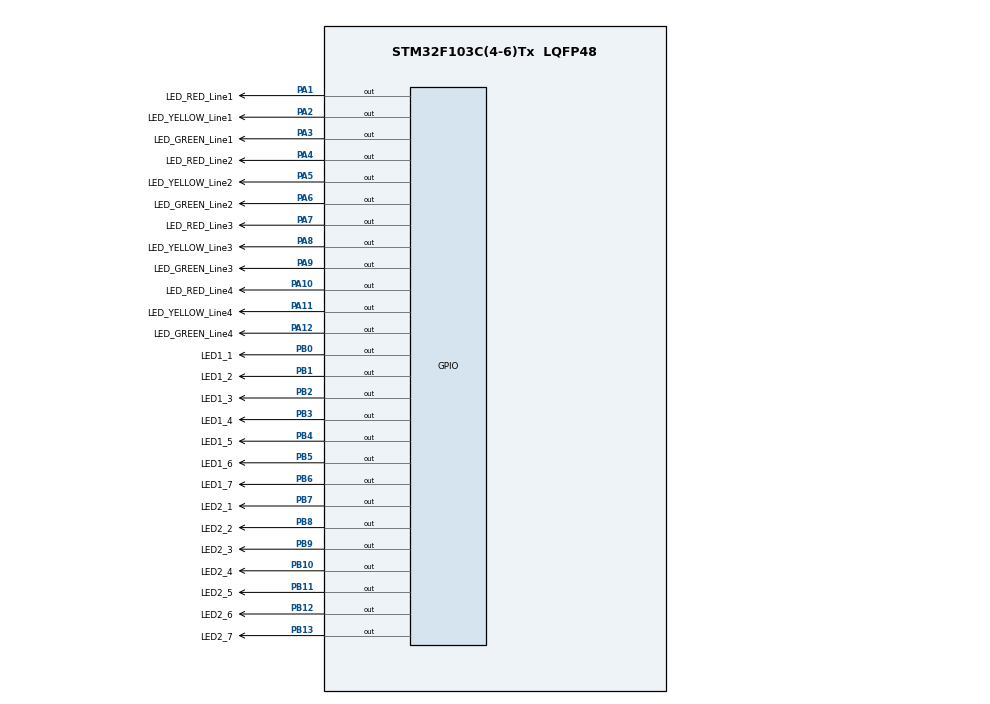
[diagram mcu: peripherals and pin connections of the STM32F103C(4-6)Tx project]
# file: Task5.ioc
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Mcu.Family=STM32F1
Mcu.Name=STM32F103C(4-6)Tx
Mcu.Package=LQFP48
NVIC.PriorityGroup=NVIC_PRIORITYGROUP_4
PA1.GPIO_Label=LED_RED_Line1
PA1.Signal=GPIO_Output
PA10.GPIO_Label=LED_RED_Line4
PA10.Signal=GPIO_Output
PA11.GPIO_Label=LED_YELLOW_Line4
PA11.Signal=GPIO_Output
PA12.GPIO_Label=LED_GREEN_Line4
PA12.Signal=GPIO_Output
PA2.GPIO_Label=LED_YELLOW_Line1
PA2.Signal=GPIO_Output
PA3.GPIO_Label=LED_GREEN_Line1
PA3.Signal=GPIO_Output
PA4.GPIO_Label=LED_RED_Line2
PA4.Signal=GPIO_Output
PA5.GPIO_Label=LED_YELLOW_Line2
PA5.Signal=GPIO_Output
PA6.GPIO_Label=LED_GREEN_Line2
PA6.Signal=GPIO_Output
PA7.GPIO_Label=LED_RED_Line3
PA7.Signal=GPIO_Output
PA8.GPIO_Label=LED_YELLOW_Line3
PA8.Signal=GPIO_Output
PA9.GPIO_Label=LED_GREEN_Line3
PA9.Signal=GPIO_Output
PB0.GPIO_Label=LED1_1
PB0.Signal=GPIO_Output
PB1.GPIO_Label=LED1_2
PB1.Signal=GPIO_Output
PB10.GPIO_Label=LED2_4
PB10.Signal=GPIO_Output
PB11.GPIO_Label=LED2_5
PB11.Signal=GPIO_Output
PB12.GPIO_Label=LED2_6
PB12.Signal=GPIO_Output
PB13.GPIO_Label=LED2_7
PB13.Signal=GPIO_Output
PB2.GPIO_Label=LED1_3
PB2.Signal=GPIO_Output
PB3.GPIO_Label=LED1_4
PB3.Signal=GPIO_Output
PB4.GPIO_Label=LED1_5
PB4.Signal=GPIO_Output
PB5.GPIO_Label=LED1_6
PB5.Signal=GPIO_Output
PB6.GPIO_Label=LED1_7
PB6.Signal=GPIO_Output
PB7.GPIO_Label=LED2_1
PB7.Signal=GPIO_Output
PB8.GPIO_Label=LED2_2
PB8.Signal=GPIO_Output
PB9.GPIO_Label=LED2_3
PB9.Signal=GPIO_Output
ProjectManager.HeapSize=0x200
ProjectManager.StackSize=0x400
ProjectManager.TargetToolchain=STM32CubeIDE
RCC.APB1Freq_Value=8000000
RCC.APB2Freq_Value=8000000
VP_SYS_VS_ND.Mode=No_Debug
board=custom

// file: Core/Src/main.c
/* USER CODE BEGIN Header */
/**
  ******************************************************************************
  * @file           : main.c
  * @brief          : Main program body
  ******************************************************************************
  * @attention
  *
  * <h2><center>&copy; Copyright (c) 2022 STMicroelectronics.
  * All rights reserved.</center></h2>
  *
  * This software component is licensed by ST under BSD 3-Clause license,
  * the "License"; You may not use this file except in compliance with the
  * License. You may obtain a copy of the License at:
  *                        opensource.org/licenses/BSD-3-Clause
  *
  ******************************************************************************
  */
/* USER CODE END Header */
#include "main.h"

void SystemClock_Config(void);
static void MX_GPIO_Init(void);

int main(void)
{

  /* MCU Configuration--------------------------------------------------------*/

  /* Reset of all peripherals, Initializes the Flash interface and the Systick. */
  HAL_Init();

  /* Configure the system clock */
  SystemClock_Config();

  /* Initialize all configured peripherals */
  MX_GPIO_Init();

  /* Infinite loop */
  /* USER CODE BEGIN WHILE */
  void  display7SEG_1(int num)     // LED 7 doan kiem soat den giao thong o line 1 va 3
    {

  	 if(num==0)
  	 {
  	 	 // Number 0
  	      HAL_GPIO_WritePin(LED1_1_GPIO_Port, LED1_1_Pin, RESET);          //a
  	  	  HAL_GPIO_WritePin(LED1_2_GPIO_Port, LED1_2_Pin, RESET);      //b
  	  	  HAL_GPIO_WritePin(LED1_3_GPIO_Port, LED1_3_Pin, RESET);     //c
  	  	  HAL_GPIO_WritePin(LED1_4_GPIO_Port, LED1_4_Pin, RESET);     //d
  	  	  HAL_GPIO_WritePin(LED1_5_GPIO_Port, LED1_5_Pin, RESET);     //e
  	  	  HAL_GPIO_WritePin(LED1_6_GPIO_Port, LED1_6_Pin, RESET);     //f
  	  	  HAL_GPIO_WritePin(LED1_7_GPIO_Port, LED1_7_Pin, SET);    //g
  	 }
  	 if(num==1)
  	 {
  		 // Number 1

  		  HAL_GPIO_WritePin(LED1_1_GPIO_Port, LED1_1_Pin, SET);          //a
  		  HAL_GPIO_WritePin(LED1_2_GPIO_Port, LED1_2_Pin, RESET);      //b
  		  HAL_GPIO_WritePin(LED1_3_GPIO_Port, LED1_3_Pin, RESET);     //c
  		  HAL_GPIO_WritePin(LED1_4_GPIO_Port, LED1_4_Pin, SET);     //d
  	      HAL_GPIO_WritePin(LED1_5_GPIO_Port, LED1_5_Pin, SET);     //e
  		  HAL_GPIO_WritePin(LED1_6_GPIO_Port, LED1_6_Pin, SET);     //f
  		  HAL_GPIO_WritePin(LED1_7_GPIO_Port, LED1_7_Pin, SET);    //g
  	 }
  	 if(num==2)
  	 {
  		 // Number 2

  		 HAL_GPIO_WritePin(LED1_1_GPIO_Port, LED1_1_Pin, 0);          //a
  		 HAL_GPIO_WritePin(LED1_2_GPIO_Port, LED1_2_Pin, 0);      //b
  		 HAL_GPIO_WritePin(LED1_3_GPIO_Port, LED1_3_Pin, 1);     //c
  		 HAL_GPIO_WritePin(LED1_4_GPIO_Port, LED1_4_Pin, 0);     //d
  		 HAL_GPIO_WritePin(LED1_5_GPIO_Port, LED1_5_Pin, 0);     //e
  		 HAL_GPIO_WritePin(LED1_6_GPIO_Port, LED1_6_Pin, 1);     //f
  		 HAL_GPIO_WritePin(LED1_7_GPIO_Port, LED1_7_Pin, 0);    //g
  	 }
  	 if(num==3)
  	 {
  		 // Number 3
  	    HAL_GPIO_WritePin(LED1_1_GPIO_Port, LED1_1_Pin, 0);          //a
  		HAL_GPIO_WritePin(LED1_2_GPIO_Port, LED1_2_Pin, 0);      //b
  		HAL_GPIO_WritePin(LED1_3_GPIO_Port, LED1_3_Pin, 0);     //c
  		HAL_GPIO_WritePin(LED1_4_GPIO_Port, LED1_4_Pin, 0);     //d
  		HAL_GPIO_WritePin(LED1_5_GPIO_Port, LED1_5_Pin, 1);     //e
  		HAL_GPIO_WritePin(LED1_6_GPIO_Port, LED1_6_Pin, 1);     //f
  		HAL_GPIO_WritePin(LED1_7_GPIO_Port, LED1_7_Pin, 0);    //g
  	 }
  	 if(num==4)
  	 {
  		 // Number 4
  		  HAL_GPIO_WritePin(LED1_1_GPIO_Port, LED1_1_Pin, 1);          //a
  		  HAL_GPIO_WritePin(LED1_2_GPIO_Port, LED1_2_Pin, 0);      //b
  		  HAL_GPIO_WritePin(LED1_3_GPIO_Port, LED1_3_Pin, 0);     //c
  		  HAL_GPIO_WritePin(LED1_4_GPIO_Port, LED1_4_Pin, 1);     //d
  		  HAL_GPIO_WritePin(LED1_5_GPIO_Port, LED1_5_Pin, 1);     //e
  	      HAL_GPIO_WritePin(LED1_6_GPIO_Port, LED1_6_Pin, 0);     //f
  		  HAL_GPIO_WritePin(LED1_7_GPIO_Port, LED1_7_Pin, 0);    //g
  	 }
  	 if(num==5)
  	 {
  		 //Number= 5
  	  HAL_GPIO_WritePin(LED1_1_GPIO_Port, LED1_1_Pin, 0);          //a
  	  HAL_GPIO_WritePin(LED1_2_GPIO_Port, LED1_2_Pin, 1);      //b
  	  HAL_GPIO_WritePin(LED1_3_GPIO_Port, LED1_3_Pin, 0);     //c
  	  HAL_GPIO_WritePin(LED1_4_GPIO_Port, LED1_4_Pin, 0);     //d
      HAL_GPIO_WritePin(LED1_5_GPIO_Port, LED1_5_Pin, 1);     //e
  	  HAL_GPIO_WritePin(LED1_6_GPIO_Port, LED1_6_Pin, 0);     //f
  	  HAL_GPIO_WritePin(LED1_7_GPIO_Port, LED1_7_Pin, 0);    //g
  	 }
  	 if(num==6)
  	 {
  		 // Number 6
  		  HAL_GPIO_WritePin(LED1_1_GPIO_Port, LED1_1_Pin, 0);          //a
  		  HAL_GPIO_WritePin(LED1_2_GPIO_Port, LED1_2_Pin, 1);      //b
  		  HAL_GPIO_WritePin(LED1_3_GPIO_Port, LED1_3_Pin, 0);     //c
  		  HAL_GPIO_WritePin(LED1_4_GPIO_Port, LED1_4_Pin, 0);     //d
  		  HAL_GPIO_WritePin(LED1_5_GPIO_Port, LED1_5_Pin, 0);     //e
  		  HAL_GPIO_WritePin(LED1_6_GPIO_Port, LED1_6_Pin, 0);     //f
  		  HAL_GPIO_WritePin(LED1_7_GPIO_Port, LED1_7_Pin, 0);    //g
  	 }
  	 if(num==7)
  	 {
  		 // Number 7
  		  HAL_GPIO_WritePin(LED1_1_GPIO_Port, LED1_1_Pin, 0);          //a
  		  HAL_GPIO_WritePin(LED1_2_GPIO_Port, LED1_2_Pin, 0);      //b
  		  HAL_GPIO_WritePin(LED1_3_GPIO_Port, LED1_3_Pin, 0);     //c
  		  HAL_GPIO_WritePin(LED1_4_GPIO_Port, LED1_4_Pin, 1);     //d
  	      HAL_GPIO_WritePin(LED1_5_GPIO_Port, LED1_5_Pin, 1);     //e
  		  HAL_GPIO_WritePin(LED1_6_GPIO_Port, LED1_6_Pin, 1);     //f
  		  HAL_GPIO_WritePin(LED1_7_GPIO_Port, LED1_7_Pin, 1);    //g
  	 }
  	 if(num==8)
  	 {
  		  // Number 8
  	  HAL_GPIO_WritePin(LED1_1_GPIO_Port, LED1_1_Pin, 0);          //a
  	  HAL_GPIO_WritePin(LED1_2_GPIO_Port, LED1_2_Pin, 0);      //b
  	  HAL_GPIO_WritePin(LED1_3_GPIO_Port, LED1_3_Pin, 0);     //c
  	  HAL_GPIO_WritePin(LED1_4_GPIO_Port, LED1_4_Pin, 0);     //d
  	  HAL_GPIO_WritePin(LED1_5_GPIO_Port, LED1_5_Pin, 0);     //e
  	  HAL_GPIO_WritePin(LED1_6_GPIO_Port, LED1_6_Pin, 0);     //f
  	  HAL_GPIO_WritePin(LED1_7_GPIO_Port, LED1_7_Pin, 0);    //g
  	 }
  	 if(num==9)
  	 {
  		 // Number 9
   	  HAL_GPIO_WritePin(LED1_1_GPIO_Port, LED1_1_Pin, 0);          //a
   	  HAL_GPIO_WritePin(LED1_2_GPIO_Port, LED1_2_Pin, 0);      //b
   	  HAL_GPIO_WritePin(LED1_3_GPIO_Port, LED1_3_Pin, 0);     //c
   	  HAL_GPIO_WritePin(LED1_4_GPIO_Port, LED1_4_Pin, 0);     //d
      HAL_GPIO_WritePin(LED1_5_GPIO_Port, LED1_5_Pin, 1);     //e
   	  HAL_GPIO_WritePin(LED1_6_GPIO_Port, LED1_6_Pin, 0);     //f
   	  HAL_GPIO_WritePin(LED1_7_GPIO_Port, LED1_7_Pin, 0);    //g
  	 }
   HAL_Delay(500);
    }
  void  display7SEG_2(int num)   // LED 7 doan kiem soat den giao thong o line 2 va line 4
      {
    	 // Number 0
    	 if(num==0)
    	 {
    	      HAL_GPIO_WritePin(LED2_1_GPIO_Port, LED2_1_Pin, RESET);          //a
    	  	  HAL_GPIO_WritePin(LED2_2_GPIO_Port, LED2_2_Pin, RESET);      //b
    	  	  HAL_GPIO_WritePin(LED2_3_GPIO_Port, LED2_3_Pin, RESET);     //c
    	  	  HAL_GPIO_WritePin(LED2_4_GPIO_Port, LED2_4_Pin, RESET);     //d
    	  	  HAL_GPIO_WritePin(LED2_5_GPIO_Port, LED2_5_Pin, RESET);     //e
    	  	  HAL_GPIO_WritePin(LED2_6_GPIO_Port, LED2_6_Pin, RESET);     //f
    	  	  HAL_GPIO_WritePin(LED2_7_GPIO_Port, LED2_7_Pin, SET);    //g
    	 }
    	 if(num==1)
    	 {
    		 // Number 1

    		  HAL_GPIO_WritePin(LED2_1_GPIO_Port, LED2_1_Pin, SET);          //a
    		  HAL_GPIO_WritePin(LED2_2_GPIO_Port, LED2_2_Pin, RESET);      //b
    		  HAL_GPIO_WritePin(LED2_3_GPIO_Port, LED2_3_Pin, RESET);     //c
    		  HAL_GPIO_WritePin(LED2_4_GPIO_Port, LED2_4_Pin, SET);     //d
    		  HAL_GPIO_WritePin(LED2_5_GPIO_Port, LED2_5_Pin, SET);     //e
    		  HAL_GPIO_WritePin(LED2_6_GPIO_Port, LED2_6_Pin, SET);     //f
    		 HAL_GPIO_WritePin(LED2_7_GPIO_Port, LED2_7_Pin, SET);    //g
    	 }
    	 if(num==2)
    	 {
    		 // Number 2
    		 HAL_GPIO_WritePin(LED2_1_GPIO_Port, LED2_1_Pin, 0);          //a
    		 HAL_GPIO_WritePin(LED2_2_GPIO_Port, LED2_2_Pin, 0);      //b
    		 HAL_GPIO_WritePin(LED2_3_GPIO_Port, LED2_3_Pin, 1);     //c
    		 HAL_GPIO_WritePin(LED2_4_GPIO_Port, LED2_4_Pin, 0);     //d
    		 HAL_GPIO_WritePin(LED2_5_GPIO_Port, LED2_5_Pin, 0);     //e
    		 HAL_GPIO_WritePin(LED2_6_GPIO_Port, LED2_6_Pin, 1);     //f
    		 HAL_GPIO_WritePin(LED2_7_GPIO_Port, LED2_7_Pin, 0);    //g
    	 }
    	 if(num==3)
    	 {
    		 // Number 3
    		 HAL_GPIO_WritePin(LED2_1_GPIO_Port, LED2_1_Pin, 0);          //a
    	     HAL_GPIO_WritePin(LED2_2_GPIO_Port, LED2_2_Pin, 0);      //b
    		 HAL_GPIO_WritePin(LED2_3_GPIO_Port, LED2_3_Pin, 0);     //c
    		 HAL_GPIO_WritePin(LED2_4_GPIO_Port, LED2_4_Pin, 0);     //d
    		 HAL_GPIO_WritePin(LED2_5_GPIO_Port, LED2_5_Pin, 1);     //e
    		 HAL_GPIO_WritePin(LED2_6_GPIO_Port, LED2_6_Pin, 1);     //f
    		 HAL_GPIO_WritePin(LED2_7_GPIO_Port, LED2_7_Pin, 0);    //g
    	 }
    	 if(num==4)
    	 {
    		 // Number 4
    		  HAL_GPIO_WritePin(LED2_1_GPIO_Port, LED2_1_Pin, 1);          //a
    		  HAL_GPIO_WritePin(LED2_2_GPIO_Port, LED2_2_Pin, 0);      //b
    		  HAL_GPIO_WritePin(LED2_3_GPIO_Port, LED2_3_Pin, 0);     //c
    		  HAL_GPIO_WritePin(LED2_4_GPIO_Port, LED2_4_Pin, 1);     //d
    		  HAL_GPIO_WritePin(LED2_5_GPIO_Port, LED2_5_Pin, 1);     //e
    		  HAL_GPIO_WritePin(LED2_6_GPIO_Port, LED2_6_Pin, 0);     //f
    		  HAL_GPIO_WritePin(LED2_7_GPIO_Port, LED2_7_Pin, 0);    //g
    	 }
    	 if(num==5)
    	 {
    	  HAL_GPIO_WritePin(LED2_1_GPIO_Port, LED1_1_Pin, 0);          //a
    	  HAL_GPIO_WritePin(LED2_2_GPIO_Port, LED2_2_Pin, 1);      //b
    	  HAL_GPIO_WritePin(LED2_3_GPIO_Port, LED2_3_Pin, 0);     //c
    	  HAL_GPIO_WritePin(LED2_4_GPIO_Port, LED2_4_Pin, 0);     //d
          HAL_GPIO_WritePin(LED2_5_GPIO_Port, LED2_5_Pin, 1);     //e
    	  HAL_GPIO_WritePin(LED2_6_GPIO_Port, LED2_6_Pin, 0);     //f
    	  HAL_GPIO_WritePin(LED2_7_GPIO_Port, LED2_7_Pin, 0);    //g
    	 }
    	 if(num==6)
    	 {
    		 // Number 6
    		  HAL_GPIO_WritePin(LED2_1_GPIO_Port, LED1_1_Pin, 0);          //a
    		  HAL_GPIO_WritePin(LED2_2_GPIO_Port, LED2_2_Pin, 1);      //b
    		  HAL_GPIO_WritePin(LED2_3_GPIO_Port, LED2_3_Pin, 0);     //c
    		  HAL_GPIO_WritePin(LED2_4_GPIO_Port, LED2_4_Pin, 0);     //d
    		  HAL_GPIO_WritePin(LED2_5_GPIO_Port, LED2_5_Pin, 0);     //e
    		  HAL_GPIO_WritePin(LED2_6_GPIO_Port, LED2_6_Pin, 0);     //f
    		  HAL_GPIO_WritePin(LED2_7_GPIO_Port, LED2_7_Pin, 0);    //g
    	 }
    	 if(num==7)
    	 {
    		 // Number 7
    		  HAL_GPIO_WritePin(LED2_1_GPIO_Port, LED1_1_Pin, 0);          //a
    		  HAL_GPIO_WritePin(LED2_2_GPIO_Port, LED1_2_Pin, 0);      //b
    		  HAL_GPIO_WritePin(LED2_3_GPIO_Port, LED2_3_Pin, 0);     //c
    		  HAL_GPIO_WritePin(LED2_4_GPIO_Port, LED2_4_Pin, 1);     //d
    		  HAL_GPIO_WritePin(LED2_5_GPIO_Port, LED2_5_Pin, 1);     //e
    		  HAL_GPIO_WritePin(LED2_6_GPIO_Port, LED2_6_Pin, 1);     //f
    		  HAL_GPIO_WritePin(LED2_7_GPIO_Port, LED2_7_Pin, 1);    //g
    	 }
    	 if(num==8)
    	 {
    		  // Number 8
    	  HAL_GPIO_WritePin(LED2_1_GPIO_Port, LED1_1_Pin, 0);          //a
    	  HAL_GPIO_WritePin(LED2_2_GPIO_Port, LED2_2_Pin, 0);      //b
    	  HAL_GPIO_WritePin(LED2_3_GPIO_Port, LED2_3_Pin, 0);     //c
    	  HAL_GPIO_WritePin(LED2_4_GPIO_Port, LED2_4_Pin, 0);     //d
    	  HAL_GPIO_WritePin(LED2_5_GPIO_Port, LED2_5_Pin, 0);     //e
    	  HAL_GPIO_WritePin(LED2_6_GPIO_Port, LED2_6_Pin, 0);     //f
    	  HAL_GPIO_WritePin(LED2_7_GPIO_Port, LED2_7_Pin, 0);    //g
    	 }
    	 if(num==9)
    	 {
    		 // Number 9
     	  HAL_GPIO_WritePin(LED2_1_GPIO_Port, LED2_1_Pin, 0);          //a
     	  HAL_GPIO_WritePin(LED2_2_GPIO_Port, LED2_2_Pin, 0);      //b
     	  HAL_GPIO_WritePin(LED2_3_GPIO_Port, LED2_3_Pin, 0);     //c
     	  HAL_GPIO_WritePin(LED2_4_GPIO_Port, LED2_4_Pin, 0);     //d
     	  HAL_GPIO_WritePin(LED2_5_GPIO_Port, LED2_5_Pin, 1);     //e
     	  HAL_GPIO_WritePin(LED2_6_GPIO_Port, LED2_6_Pin, 0);     //f
     	  HAL_GPIO_WritePin(LED2_7_GPIO_Port, LED2_7_Pin, 0);    //g
    	 }
      }
 // int led_status = 1;
 // int counter  = 3;  // counter dung de xac dinh delay
  while (1)
  {
    /* USER CODE END WHILE */
	  // set = LED ON
	  // RED ON : 9s -> 0s;
	  // GREEN ON: 5s -> 0s;
	  // YELLOW ON: 3s-> 0s;
	  int i = 8;

	          HAL_GPIO_WritePin ( LED_RED_Line1_GPIO_Port , LED_RED_Line1_Pin , RESET );
	 	 	  HAL_GPIO_WritePin ( LED_RED_Line3_GPIO_Port , LED_RED_Line3_Pin , RESET );
	 	 	  HAL_GPIO_WritePin ( LED_YELLOW_Line1_GPIO_Port , LED_YELLOW_Line1_Pin , RESET );
	 		  HAL_GPIO_WritePin ( LED_YELLOW_Line3_GPIO_Port , LED_YELLOW_Line3_Pin , RESET );
	 	 	  HAL_GPIO_WritePin ( LED_GREEN_Line1_GPIO_Port , LED_GREEN_Line1_Pin , SET );
	 	 	  HAL_GPIO_WritePin ( LED_GREEN_Line3_GPIO_Port , LED_GREEN_Line3_Pin , SET );

	 	 	  HAL_GPIO_WritePin ( LED_YELLOW_Line2_GPIO_Port , LED_YELLOW_Line2_Pin , RESET );
	 	 	  HAL_GPIO_WritePin ( LED_YELLOW_Line4_GPIO_Port , LED_YELLOW_Line4_Pin , RESET );
	 	 	  HAL_GPIO_WritePin ( LED_GREEN_Line2_GPIO_Port , LED_GREEN_Line2_Pin , RESET );
	 	 	  HAL_GPIO_WritePin ( LED_GREEN_Line4_GPIO_Port , LED_GREEN_Line4_Pin , RESET );
	 	 	  HAL_GPIO_WritePin ( LED_RED_Line2_GPIO_Port , LED_RED_Line2_Pin , SET );
	 	 	  HAL_GPIO_WritePin ( LED_RED_Line4_GPIO_Port , LED_RED_Line4_Pin , SET );

	 	 	  while(i>=4)
	 	 	  {
	 	 		display7SEG_2(i);
	 	 		display7SEG_1(i-4);
	 	 		i = i-1;
	 	 	  }

	 	   // State 2 : Line 1 : Yellow On, Line 2: Red on, Line 3: Yellow on, Line 4: Red on
	 	 	 HAL_GPIO_WritePin ( LED_RED_Line2_GPIO_Port , LED_RED_Line2_Pin , SET );
	 	 	 HAL_GPIO_WritePin ( LED_RED_Line4_GPIO_Port , LED_RED_Line4_Pin , SET );
	 	 	 HAL_GPIO_WritePin ( LED_YELLOW_Line2_GPIO_Port , LED_YELLOW_Line2_Pin , RESET );
	 	     HAL_GPIO_WritePin ( LED_YELLOW_Line4_GPIO_Port , LED_YELLOW_Line4_Pin , RESET );
	 	 	 HAL_GPIO_WritePin ( LED_GREEN_Line2_GPIO_Port , LED_GREEN_Line2_Pin , RESET );
	 	 	 HAL_GPIO_WritePin ( LED_GREEN_Line4_GPIO_Port , LED_GREEN_Line4_Pin , RESET );

	 	 	  HAL_GPIO_WritePin ( LED_GREEN_Line1_GPIO_Port , LED_GREEN_Line1_Pin , RESET );
	 	 	  HAL_GPIO_WritePin ( LED_GREEN_Line3_GPIO_Port , LED_GREEN_Line3_Pin , RESET );
	 	 	  HAL_GPIO_WritePin ( LED_RED_Line1_GPIO_Port , LED_RED_Line1_Pin , RESET );
	 	 	  HAL_GPIO_WritePin ( LED_RED_Line3_GPIO_Port , LED_RED_Line3_Pin , RESET );
	 	 	  HAL_GPIO_WritePin ( LED_YELLOW_Line1_GPIO_Port , LED_YELLOW_Line1_Pin , SET );
	 	 	  HAL_GPIO_WritePin ( LED_YELLOW_Line3_GPIO_Port , LED_YELLOW_Line3_Pin , SET );
	 	 	 while(i>=0)
	 	 		 {
	 	 		 	 		display7SEG_2(i);
	 	 		         	display7SEG_1(i);

	 	 		 	 		i = i-1;
	 	 	 	  }
	 	 	 i = 8;
	 	 	  // State 3 : Line 1 : Red On, Line 2: Green on, Line 3: Red on, Line 4: Green on
	 	 		 	 	 HAL_GPIO_WritePin ( LED_RED_Line2_GPIO_Port , LED_RED_Line2_Pin , RESET );
	 	 		 	 	 HAL_GPIO_WritePin ( LED_RED_Line4_GPIO_Port , LED_RED_Line4_Pin , RESET );
	 	 		 	 	 HAL_GPIO_WritePin ( LED_YELLOW_Line2_GPIO_Port , LED_YELLOW_Line2_Pin , RESET );
	 	 		 	 	 HAL_GPIO_WritePin ( LED_YELLOW_Line4_GPIO_Port , LED_YELLOW_Line4_Pin , RESET );
	 	 		 	 	 HAL_GPIO_WritePin ( LED_GREEN_Line2_GPIO_Port , LED_GREEN_Line2_Pin , SET );
	 	 		 	 	 HAL_GPIO_WritePin ( LED_GREEN_Line4_GPIO_Port , LED_GREEN_Line4_Pin , SET );

	 	 		 	 	 HAL_GPIO_WritePin ( LED_GREEN_Line1_GPIO_Port , LED_GREEN_Line1_Pin , RESET );
	 	 		 	 	 HAL_GPIO_WritePin ( LED_GREEN_Line3_GPIO_Port , LED_GREEN_Line3_Pin , RESET );
	 	 		 	 	 HAL_GPIO_WritePin ( LED_RED_Line1_GPIO_Port , LED_RED_Line1_Pin , SET );
	 	 		 	 	 HAL_GPIO_WritePin ( LED_RED_Line3_GPIO_Port , LED_RED_Line3_Pin , SET );
	 	 		 	 	 HAL_GPIO_WritePin ( LED_YELLOW_Line1_GPIO_Port , LED_YELLOW_Line1_Pin , RESET );
	 	 		 	 	 HAL_GPIO_WritePin ( LED_YELLOW_Line3_GPIO_Port , LED_YELLOW_Line3_Pin , RESET );
	 	 		 	 while(i>=4)
	 	 		 	 		 	 	  {
	 	 		 	 		 	 		display7SEG_2(i-4);
	 	 		 	 		 	 	    display7SEG_1(i);
	 	 		 	 		 	 		i = i-1;
	 	 		 	 		 	 	  }
	 	 		 		 // State 4 : Line 1 : Red On, Line 2: Yellow on, Line 3: Red on, Line 4: Yellow on

	 	 		 	 	 HAL_GPIO_WritePin ( LED_GREEN_Line1_GPIO_Port , LED_GREEN_Line1_Pin , RESET );
	 	 		 	 	 HAL_GPIO_WritePin ( LED_GREEN_Line3_GPIO_Port , LED_GREEN_Line3_Pin , RESET );
	 	 		 	 	 HAL_GPIO_WritePin ( LED_RED_Line1_GPIO_Port , LED_RED_Line1_Pin , SET );
	 	 		 	 	 HAL_GPIO_WritePin ( LED_RED_Line3_GPIO_Port , LED_RED_Line3_Pin , SET );
	 	 		 	 	 HAL_GPIO_WritePin ( LED_YELLOW_Line1_GPIO_Port , LED_YELLOW_Line1_Pin , RESET );
	 	 		 	 	 HAL_GPIO_WritePin ( LED_YELLOW_Line3_GPIO_Port , LED_YELLOW_Line3_Pin , RESET );

	 	 		 		 HAL_GPIO_WritePin ( LED_RED_Line2_GPIO_Port , LED_RED_Line2_Pin , RESET );
	 	 		 		 HAL_GPIO_WritePin ( LED_RED_Line4_GPIO_Port , LED_RED_Line4_Pin , RESET );
	 	 		 		 HAL_GPIO_WritePin ( LED_YELLOW_Line2_GPIO_Port , LED_YELLOW_Line2_Pin , SET );
	 	 		 		 HAL_GPIO_WritePin ( LED_YELLOW_Line4_GPIO_Port , LED_YELLOW_Line4_Pin , SET );
	 	 		 		 HAL_GPIO_WritePin ( LED_GREEN_Line2_GPIO_Port , LED_GREEN_Line2_Pin , RESET );
	 	 		 		 HAL_GPIO_WritePin ( LED_GREEN_Line4_GPIO_Port , LED_GREEN_Line4_Pin , RESET );
	 	 		 		while(i>=0)
	 	 		 		{

	 	 		 			 display7SEG_2(i);
	 	 		 			 display7SEG_1(i);
	 	 		 			 i = i-1;
	 	 		 		}
	 	 	HAL_Delay(500);
  }
}

void SystemClock_Config(void)
{
  RCC_OscInitTypeDef RCC_OscInitStruct = {0};
  RCC_ClkInitTypeDef RCC_ClkInitStruct = {0};

  /** Initializes the RCC Oscillators according to the specified parameters
  * in the RCC_OscInitTypeDef structure.
  */
  RCC_OscInitStruct.OscillatorType = RCC_OSCILLATORTYPE_HSI;
  RCC_OscInitStruct.HSIState = RCC_HSI_ON;
  RCC_OscInitStruct.HSICalibrationValue = RCC_HSICALIBRATION_DEFAULT;
  RCC_OscInitStruct.PLL.PLLState = RCC_PLL_NONE;
  if (HAL_RCC_OscConfig(&RCC_OscInitStruct) != HAL_OK)
  {
    Error_Handler();
  }
  /** Initializes the CPU, AHB and APB buses clocks
  */
  RCC_ClkInitStruct.ClockType = RCC_CLOCKTYPE_HCLK|RCC_CLOCKTYPE_SYSCLK
                              |RCC_CLOCKTYPE_PCLK1|RCC_CLOCKTYPE_PCLK2;
  RCC_ClkInitStruct.SYSCLKSource = RCC_SYSCLKSOURCE_HSI;
  RCC_ClkInitStruct.AHBCLKDivider = RCC_SYSCLK_DIV1;
  RCC_ClkInitStruct.APB1CLKDivider = RCC_HCLK_DIV1;
  RCC_ClkInitStruct.APB2CLKDivider = RCC_HCLK_DIV1;

  if (HAL_RCC_ClockConfig(&RCC_ClkInitStruct, FLASH_LATENCY_0) != HAL_OK)
  {
    Error_Handler();
  }
}

static void MX_GPIO_Init(void)
{
  GPIO_InitTypeDef GPIO_InitStruct = {0};

  /* GPIO Ports Clock Enable */
  __HAL_RCC_GPIOA_CLK_ENABLE();
  __HAL_RCC_GPIOB_CLK_ENABLE();

  /*Configure GPIO pin Output Level */
  HAL_GPIO_WritePin(GPIOA, LED_RED_Line1_Pin|LED_YELLOW_Line1_Pin|LED_GREEN_Line1_Pin|LED_RED_Line2_Pin
                          |LED_YELLOW_Line2_Pin|LED_GREEN_Line2_Pin|LED_RED_Line3_Pin|LED_YELLOW_Line3_Pin
                          |LED_GREEN_Line3_Pin|LED_RED_Line4_Pin|LED_YELLOW_Line4_Pin|LED_GREEN_Line4_Pin, GPIO_PIN_RESET);

  /*Configure GPIO pin Output Level */
  HAL_GPIO_WritePin(GPIOB, LED1_1_Pin|LED1_2_Pin|LED1_3_Pin|LED2_4_Pin
                          |LED2_5_Pin|LED2_6_Pin|LED2_7_Pin|LED1_4_Pin
                          |LED1_5_Pin|LED1_6_Pin|LED1_7_Pin|LED2_1_Pin
                          |LED2_2_Pin|LED2_3_Pin, GPIO_PIN_RESET);

  /*Configure GPIO pins : LED_RED_Line1_Pin LED_YELLOW_Line1_Pin LED_GREEN_Line1_Pin LED_RED_Line2_Pin
                           LED_YELLOW_Line2_Pin LED_GREEN_Line2_Pin LED_RED_Line3_Pin LED_YELLOW_Line3_Pin
                           LED_GREEN_Line3_Pin LED_RED_Line4_Pin LED_YELLOW_Line4_Pin LED_GREEN_Line4_Pin */
  GPIO_InitStruct.Pin = LED_RED_Line1_Pin|LED_YELLOW_Line1_Pin|LED_GREEN_Line1_Pin|LED_RED_Line2_Pin
                          |LED_YELLOW_Line2_Pin|LED_GREEN_Line2_Pin|LED_RED_Line3_Pin|LED_YELLOW_Line3_Pin
                          |LED_GREEN_Line3_Pin|LED_RED_Line4_Pin|LED_YELLOW_Line4_Pin|LED_GREEN_Line4_Pin;
  GPIO_InitStruct.Mode = GPIO_MODE_OUTPUT_PP;
  GPIO_InitStruct.Pull = GPIO_NOPULL;
  GPIO_InitStruct.Speed = GPIO_SPEED_FREQ_LOW;
  HAL_GPIO_Init(GPIOA, &GPIO_InitStruct);

  /*Configure GPIO pins : LED1_1_Pin LED1_2_Pin LED1_3_Pin LED2_4_Pin
                           LED2_5_Pin LED2_6_Pin LED2_7_Pin LED1_4_Pin
                           LED1_5_Pin LED1_6_Pin LED1_7_Pin LED2_1_Pin
                           LED2_2_Pin LED2_3_Pin */
  GPIO_InitStruct.Pin = LED1_1_Pin|LED1_2_Pin|LED1_3_Pin|LED2_4_Pin
                          |LED2_5_Pin|LED2_6_Pin|LED2_7_Pin|LED1_4_Pin
                          |LED1_5_Pin|LED1_6_Pin|LED1_7_Pin|LED2_1_Pin
                          |LED2_2_Pin|LED2_3_Pin;
  GPIO_InitStruct.Mode = GPIO_MODE_OUTPUT_PP;
  GPIO_InitStruct.Pull = GPIO_NOPULL;
  GPIO_InitStruct.Speed = GPIO_SPEED_FREQ_LOW;
  HAL_GPIO_Init(GPIOB, &GPIO_InitStruct);

}

void Error_Handler(void)
{
  __disable_irq();
  while (1)
  {
  }
}

/************************ (C) COPYRIGHT STMicroelectronics *****END OF FILE****/
